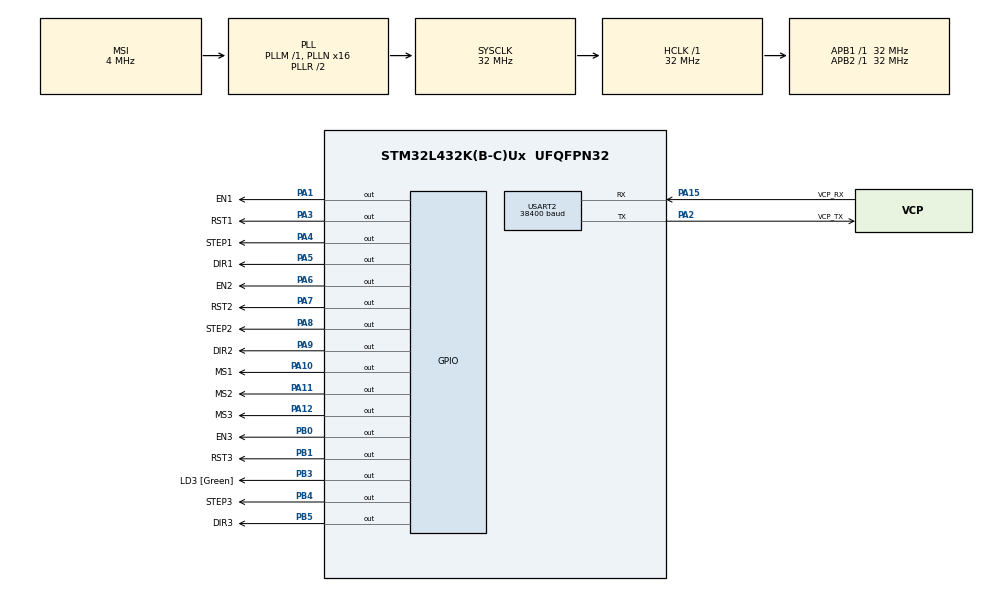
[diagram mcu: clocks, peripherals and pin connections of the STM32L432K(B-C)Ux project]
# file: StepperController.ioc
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FREERTOS.Tasks01=defaultTask,24,128,StartDefaultTask,Default,NULL,Dynamic,NULL,NULL
FREERTOS.configUSE_NEWLIB_REENTRANT=1
Mcu.Family=STM32L4
Mcu.Name=STM32L432K(B-C)Ux
Mcu.Package=UFQFPN32
NVIC.PriorityGroup=NVIC_PRIORITYGROUP_4
NVIC.TIM1_CC_IRQn=true\:5\:0\:false\:false\:true\:true\:true\:true\:true
NVIC.TIM1_UP_TIM16_IRQn=true\:5\:0\:false\:false\:true\:true\:false\:true\:true
NVIC.TIM7_IRQn=true\:15\:0\:false\:false\:true\:false\:false\:true\:true
NVIC.TimeBase=TIM7_IRQn
NVIC.TimeBaseIP=TIM7
NVIC.USART2_IRQn=true\:5\:0\:false\:false\:true\:true\:true\:true\:true
PA0.GPIO_Label=MCO [High speed clock in]
PA0.Mode=HSE-External-Clock-Source-for-LittleOrca
PA0.Signal=RCC_CK_IN
PA1.GPIO_Label=EN1
PA1.PinState=GPIO_PIN_SET
PA1.Signal=GPIO_Output
PA10.GPIO_Label=MS1
PA10.Signal=GPIO_Output
PA11.GPIO_Label=MS2
PA11.Signal=GPIO_Output
PA12.GPIO_Label=MS3
PA12.Signal=GPIO_Output
PA13\ (JTMS-SWDIO).GPIO_Label=SWDIO
PA13\ (JTMS-SWDIO).Mode=Serial_Wire
PA13\ (JTMS-SWDIO).Signal=SYS_JTMS-SWDIO
PA14\ (JTCK-SWCLK).GPIO_Label=SWCLK
PA14\ (JTCK-SWCLK).Mode=Serial_Wire
PA14\ (JTCK-SWCLK).Signal=SYS_JTCK-SWCLK
PA15\ (JTDI).GPIO_Label=VCP_RX
PA15\ (JTDI).Mode=Asynchronous
PA15\ (JTDI).Signal=USART2_RX
PA2.GPIO_Label=VCP_TX
PA2.Mode=Asynchronous
PA2.Signal=USART2_TX
PA3.GPIO_Label=RST1
PA3.PinState=GPIO_PIN_SET
PA3.Signal=GPIO_Output
PA4.GPIO_Label=STEP1
PA4.Signal=GPIO_Output
PA5.GPIO_Label=DIR1
PA5.Signal=GPIO_Output
PA6.GPIO_Label=EN2
PA6.PinState=GPIO_PIN_SET
PA6.Signal=GPIO_Output
PA7.GPIO_Label=RST2
PA7.PinState=GPIO_PIN_SET
PA7.Signal=GPIO_Output
PA8.GPIO_Label=STEP2
PA8.Signal=GPIO_Output
PA9.GPIO_Label=DIR2
PA9.Signal=GPIO_Output
PB0.GPIO_Label=EN3
PB0.PinState=GPIO_PIN_SET
PB0.Signal=GPIO_Output
PB1.GPIO_Label=RST3
PB1.PinState=GPIO_PIN_SET
PB1.Signal=GPIO_Output
PB3\ (JTDO-TRACESWO).GPIO_Label=LD3 [Green]
PB3\ (JTDO-TRACESWO).Signal=GPIO_Output
PB4\ (NJTRST).GPIO_Label=STEP3
PB4\ (NJTRST).Signal=GPIO_Output
PB5.GPIO_Label=DIR3
PB5.Signal=GPIO_Output
PC14-OSC32_IN\ (PC14).Mode=LSE-External-Oscillator
PC14-OSC32_IN\ (PC14).Signal=RCC_OSC32_IN
PC15-OSC32_OUT\ (PC15).Mode=LSE-External-Oscillator
PC15-OSC32_OUT\ (PC15).Signal=RCC_OSC32_OUT
ProjectManager.HeapSize=0x200
ProjectManager.StackSize=0x400
ProjectManager.TargetToolchain=STM32CubeIDE
RCC.AHBFreq_Value=32000000
RCC.APB1Freq_Value=32000000
RCC.APB1TimFreq_Value=32000000
RCC.APB2Freq_Value=32000000
RCC.APB2TimFreq_Value=32000000
RCC.CortexFreq_Value=32000000
RCC.HCLKFreq_Value=32000000
RCC.HSE_VALUE=8000000
RCC.HSI16_VALUE=16000000
RCC.HSI48_VALUE=48000000
RCC.HSI_VALUE=16000000
RCC.MSI_VALUE=4000000
RCC.PLLMUL=RCC_PLLMUL_4
RCC.PLLN=16
RCC.SYSCLKFreq_VALUE=32000000
RCC.SYSCLKSource=RCC_SYSCLKSOURCE_PLLCLK
RCC.VCOOutputFreq_Value=64000000
TIM1.Channel-Output\ Compare1\ No\ Output=TIM_CHANNEL_1
TIM1.OCMode_1=TIM_OCMODE_TOGGLE
TIM1.Prescaler=32000 - 1
USART2.BaudRate=38400
USART2.VirtualMode-Asynchronous=VM_ASYNC
VP_FREERTOS_VS_CMSIS_V2.Mode=CMSIS_V2
VP_SYS_VS_tim7.Mode=TIM7
VP_TIM1_VS_ClockSourceINT.Mode=Internal
VP_TIM1_VS_no_output1.Mode=Output Compare1 No Output
board=NUCLEO-L432KC

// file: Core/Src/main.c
/* USER CODE BEGIN Header */
/**
  ******************************************************************************
  * @file           : main.c
  * @brief          : Main program body
  ******************************************************************************
  * @attention
  *
  * Copyright (c) 2026 STMicroelectronics.
  * All rights reserved.
  *
  * This software is licensed under terms that can be found in the LICENSE file
  * in the root directory of this software component.
  * If no LICENSE file comes with this software, it is provided AS-IS.
  *
  ******************************************************************************
  */
/* USER CODE END Header */
#include "main.h"
#include "cmsis_os.h"

/* USER CODE BEGIN Includes */
#include "modbus.h"
#include "globals.h"
#include <stdlib.h>
/* USER CODE END Includes */

TIM_HandleTypeDef htim1;

UART_HandleTypeDef huart2;

/* Definitions for defaultTask */
osThreadId_t defaultTaskHandle;
const osThreadAttr_t defaultTask_attributes = {
  .name = "defaultTask",
  .stack_size = 128 * 4,
  .priority = (osPriority_t) osPriorityNormal,
};
/* USER CODE BEGIN PV */
modbusHandler_t ModbusH;
uint16_t HoldingRegs[HR_SIZE] = { APP_FC_NOP, 0x0000, 0x0000, SPEED_1, 0x0000, STEP_1 };
uint16_t InputRegs[IR_SIZE] = { 100, 200, 300, 400 };
uint16_t pulses_remaining;
uint16_t pulse_width;
int32_t dir_pulses;

osThreadId_t pulseTaskHandle;
const osThreadAttr_t pulseTask_attributes = {
  .name = "pulseTask",
  .stack_size = 128 * 4,
  .priority = (osPriority_t) osPriorityNormal,
};

bool busy = false;
/* USER CODE END PV */

void SystemClock_Config(void);
static void MX_GPIO_Init(void);
static void MX_USART2_UART_Init(void);
static void MX_TIM1_Init(void);
void StartDefaultTask(void *argument);

/* USER CODE BEGIN PFP */
void StartPulseTask(void *argument);
/* USER CODE END PFP */

int main(void)
{

  /* MCU Configuration--------------------------------------------------------*/

  /* Reset of all peripherals, Initializes the Flash interface and the Systick. */
  HAL_Init();

  /* Configure the system clock */
  SystemClock_Config();

  /* Initialize all configured peripherals */
  MX_GPIO_Init();
  MX_USART2_UART_Init();
  MX_TIM1_Init();
  /* USER CODE BEGIN 2 */
  /* Slave initialization */
  ModbusH.uModbusType = MB_SLAVE;
  ModbusH.port =  &huart2;
  ModbusH.u8id = 1;
  ModbusH.u16timeOut = 1000;
  ModbusH.EN_Port = NULL;
  ModbusH.u16HoldingRegs = HoldingRegs;
  ModbusH.u16HoldingRegSize= sizeof(HoldingRegs)/sizeof(HoldingRegs[0]);
  ModbusH.u16InputRegs = InputRegs;
  ModbusH.u16InputRegSize= sizeof(InputRegs)/sizeof(InputRegs[0]);
  ModbusH.xTypeHW = USART_HW;
  //Initialize Modbus library
  ModbusInit(&ModbusH);
  //Start capturing traffic on serial Port
  ModbusStart(&ModbusH);
  /* USER CODE END 2 */

  /* Init scheduler */
  osKernelInitialize();

  /* Create the thread(s) */
  /* creation of defaultTask */
  defaultTaskHandle = osThreadNew(StartDefaultTask, NULL, &defaultTask_attributes);

  /* Start scheduler */
  osKernelStart();

  /* We should never get here as control is now taken by the scheduler */

  /* Infinite loop */
  while (1)
  {

  }
}

void SystemClock_Config(void)
{
  RCC_OscInitTypeDef RCC_OscInitStruct = {0};
  RCC_ClkInitTypeDef RCC_ClkInitStruct = {0};

  /** Configure the main internal regulator output voltage
  */
  if (HAL_PWREx_ControlVoltageScaling(PWR_REGULATOR_VOLTAGE_SCALE1) != HAL_OK)
  {
    Error_Handler();
  }

  /** Configure LSE Drive Capability
  */
  HAL_PWR_EnableBkUpAccess();
  __HAL_RCC_LSEDRIVE_CONFIG(RCC_LSEDRIVE_LOW);

  /** Initializes the RCC Oscillators according to the specified parameters
  * in the RCC_OscInitTypeDef structure.
  */
  RCC_OscInitStruct.OscillatorType = RCC_OSCILLATORTYPE_LSE|RCC_OSCILLATORTYPE_MSI;
  RCC_OscInitStruct.LSEState = RCC_LSE_ON;
  RCC_OscInitStruct.MSIState = RCC_MSI_ON;
  RCC_OscInitStruct.MSICalibrationValue = 0;
  RCC_OscInitStruct.MSIClockRange = RCC_MSIRANGE_6;
  RCC_OscInitStruct.PLL.PLLState = RCC_PLL_ON;
  RCC_OscInitStruct.PLL.PLLSource = RCC_PLLSOURCE_MSI;
  RCC_OscInitStruct.PLL.PLLM = 1;
  RCC_OscInitStruct.PLL.PLLN = 16;
  RCC_OscInitStruct.PLL.PLLP = RCC_PLLP_DIV7;
  RCC_OscInitStruct.PLL.PLLQ = RCC_PLLQ_DIV2;
  RCC_OscInitStruct.PLL.PLLR = RCC_PLLR_DIV2;
  if (HAL_RCC_OscConfig(&RCC_OscInitStruct) != HAL_OK)
  {
    Error_Handler();
  }

  /** Initializes the CPU, AHB and APB buses clocks
  */
  RCC_ClkInitStruct.ClockType = RCC_CLOCKTYPE_HCLK|RCC_CLOCKTYPE_SYSCLK
                              |RCC_CLOCKTYPE_PCLK1|RCC_CLOCKTYPE_PCLK2;
  RCC_ClkInitStruct.SYSCLKSource = RCC_SYSCLKSOURCE_PLLCLK;
  RCC_ClkInitStruct.AHBCLKDivider = RCC_SYSCLK_DIV1;
  RCC_ClkInitStruct.APB1CLKDivider = RCC_HCLK_DIV1;
  RCC_ClkInitStruct.APB2CLKDivider = RCC_HCLK_DIV1;

  if (HAL_RCC_ClockConfig(&RCC_ClkInitStruct, FLASH_LATENCY_1) != HAL_OK)
  {
    Error_Handler();
  }

  /** Enable MSI Auto calibration
  */
  HAL_RCCEx_EnableMSIPLLMode();
}

static void MX_TIM1_Init(void)
{

  TIM_ClockConfigTypeDef sClockSourceConfig = {0};
  TIM_MasterConfigTypeDef sMasterConfig = {0};
  TIM_OC_InitTypeDef sConfigOC = {0};
  TIM_BreakDeadTimeConfigTypeDef sBreakDeadTimeConfig = {0};

  htim1.Instance = TIM1;
  htim1.Init.Prescaler = 32000 - 1;
  htim1.Init.CounterMode = TIM_COUNTERMODE_UP;
  htim1.Init.Period = 65535;
  htim1.Init.ClockDivision = TIM_CLOCKDIVISION_DIV1;
  htim1.Init.RepetitionCounter = 0;
  htim1.Init.AutoReloadPreload = TIM_AUTORELOAD_PRELOAD_DISABLE;
  if (HAL_TIM_Base_Init(&htim1) != HAL_OK)
  {
    Error_Handler();
  }
  sClockSourceConfig.ClockSource = TIM_CLOCKSOURCE_INTERNAL;
  if (HAL_TIM_ConfigClockSource(&htim1, &sClockSourceConfig) != HAL_OK)
  {
    Error_Handler();
  }
  if (HAL_TIM_OC_Init(&htim1) != HAL_OK)
  {
    Error_Handler();
  }
  sMasterConfig.MasterOutputTrigger = TIM_TRGO_RESET;
  sMasterConfig.MasterOutputTrigger2 = TIM_TRGO2_RESET;
  sMasterConfig.MasterSlaveMode = TIM_MASTERSLAVEMODE_DISABLE;
  if (HAL_TIMEx_MasterConfigSynchronization(&htim1, &sMasterConfig) != HAL_OK)
  {
    Error_Handler();
  }
  sConfigOC.OCMode = TIM_OCMODE_TOGGLE;
  sConfigOC.Pulse = 0;
  sConfigOC.OCPolarity = TIM_OCPOLARITY_HIGH;
  sConfigOC.OCNPolarity = TIM_OCNPOLARITY_HIGH;
  sConfigOC.OCFastMode = TIM_OCFAST_DISABLE;
  sConfigOC.OCIdleState = TIM_OCIDLESTATE_RESET;
  sConfigOC.OCNIdleState = TIM_OCNIDLESTATE_RESET;
  if (HAL_TIM_OC_ConfigChannel(&htim1, &sConfigOC, TIM_CHANNEL_1) != HAL_OK)
  {
    Error_Handler();
  }
  sBreakDeadTimeConfig.OffStateRunMode = TIM_OSSR_DISABLE;
  sBreakDeadTimeConfig.OffStateIDLEMode = TIM_OSSI_DISABLE;
  sBreakDeadTimeConfig.LockLevel = TIM_LOCKLEVEL_OFF;
  sBreakDeadTimeConfig.DeadTime = 0;
  sBreakDeadTimeConfig.BreakState = TIM_BREAK_DISABLE;
  sBreakDeadTimeConfig.BreakPolarity = TIM_BREAKPOLARITY_HIGH;
  sBreakDeadTimeConfig.BreakFilter = 0;
  sBreakDeadTimeConfig.Break2State = TIM_BREAK2_DISABLE;
  sBreakDeadTimeConfig.Break2Polarity = TIM_BREAK2POLARITY_HIGH;
  sBreakDeadTimeConfig.Break2Filter = 0;
  sBreakDeadTimeConfig.AutomaticOutput = TIM_AUTOMATICOUTPUT_DISABLE;
  if (HAL_TIMEx_ConfigBreakDeadTime(&htim1, &sBreakDeadTimeConfig) != HAL_OK)
  {
    Error_Handler();
  }

}

static void MX_USART2_UART_Init(void)
{

  huart2.Instance = USART2;
  huart2.Init.BaudRate = 38400;
  huart2.Init.WordLength = UART_WORDLENGTH_8B;
  huart2.Init.StopBits = UART_STOPBITS_1;
  huart2.Init.Parity = UART_PARITY_NONE;
  huart2.Init.Mode = UART_MODE_TX_RX;
  huart2.Init.HwFlowCtl = UART_HWCONTROL_NONE;
  huart2.Init.OverSampling = UART_OVERSAMPLING_16;
  huart2.Init.OneBitSampling = UART_ONE_BIT_SAMPLE_DISABLE;
  huart2.AdvancedInit.AdvFeatureInit = UART_ADVFEATURE_NO_INIT;
  if (HAL_UART_Init(&huart2) != HAL_OK)
  {
    Error_Handler();
  }

}

static void MX_GPIO_Init(void)
{
  GPIO_InitTypeDef GPIO_InitStruct = {0};

  /* GPIO Ports Clock Enable */
  __HAL_RCC_GPIOC_CLK_ENABLE();
  __HAL_RCC_GPIOA_CLK_ENABLE();
  __HAL_RCC_GPIOB_CLK_ENABLE();

  /*Configure GPIO pin Output Level */
  HAL_GPIO_WritePin(GPIOA, EN1_Pin|RST1_Pin|EN2_Pin|RST2_Pin, GPIO_PIN_SET);

  /*Configure GPIO pin Output Level */
  HAL_GPIO_WritePin(GPIOA, STEP1_Pin|DIR1_Pin|STEP2_Pin|DIR2_Pin
                          |MS1_Pin|MS2_Pin|MS3_Pin, GPIO_PIN_RESET);

  /*Configure GPIO pin Output Level */
  HAL_GPIO_WritePin(GPIOB, EN3_Pin|RST3_Pin, GPIO_PIN_SET);

  /*Configure GPIO pin Output Level */
  HAL_GPIO_WritePin(GPIOB, LD3_Pin|STEP3_Pin|DIR3_Pin, GPIO_PIN_RESET);

  /*Configure GPIO pins : EN1_Pin RST1_Pin STEP1_Pin DIR1_Pin
                           EN2_Pin RST2_Pin STEP2_Pin DIR2_Pin
                           MS1_Pin MS2_Pin MS3_Pin */
  GPIO_InitStruct.Pin = EN1_Pin|RST1_Pin|STEP1_Pin|DIR1_Pin
                          |EN2_Pin|RST2_Pin|STEP2_Pin|DIR2_Pin
                          |MS1_Pin|MS2_Pin|MS3_Pin;
  GPIO_InitStruct.Mode = GPIO_MODE_OUTPUT_PP;
  GPIO_InitStruct.Pull = GPIO_NOPULL;
  GPIO_InitStruct.Speed = GPIO_SPEED_FREQ_LOW;
  HAL_GPIO_Init(GPIOA, &GPIO_InitStruct);

  /*Configure GPIO pins : EN3_Pin RST3_Pin LD3_Pin STEP3_Pin
                           DIR3_Pin */
  GPIO_InitStruct.Pin = EN3_Pin|RST3_Pin|LD3_Pin|STEP3_Pin
                          |DIR3_Pin;
  GPIO_InitStruct.Mode = GPIO_MODE_OUTPUT_PP;
  GPIO_InitStruct.Pull = GPIO_NOPULL;
  GPIO_InitStruct.Speed = GPIO_SPEED_FREQ_LOW;
  HAL_GPIO_Init(GPIOB, &GPIO_InitStruct);

}

/* USER CODE BEGIN 4 */
void setStepSize()
{
	switch(HoldingRegs[HR_STEP_SIZE])
	{
		case STEP_1:
			HAL_GPIO_WritePin(GPIOA, MS1_Pin, GPIO_PIN_RESET);
			HAL_GPIO_WritePin(GPIOA, MS2_Pin, GPIO_PIN_RESET);
			HAL_GPIO_WritePin(GPIOA, MS3_Pin, GPIO_PIN_RESET);
			break;
		case STEP_1_2:
			HAL_GPIO_WritePin(GPIOA, MS1_Pin, GPIO_PIN_SET);
			HAL_GPIO_WritePin(GPIOA, MS2_Pin, GPIO_PIN_RESET);
			HAL_GPIO_WritePin(GPIOA, MS3_Pin, GPIO_PIN_RESET);
			break;
		case STEP_1_4:
			HAL_GPIO_WritePin(GPIOA, MS1_Pin, GPIO_PIN_RESET);
			HAL_GPIO_WritePin(GPIOA, MS2_Pin, GPIO_PIN_SET);
			HAL_GPIO_WritePin(GPIOA, MS3_Pin, GPIO_PIN_RESET);
			break;
		case STEP_1_8:
			HAL_GPIO_WritePin(GPIOA, MS1_Pin, GPIO_PIN_SET);
			HAL_GPIO_WritePin(GPIOA, MS2_Pin, GPIO_PIN_SET);
			HAL_GPIO_WritePin(GPIOA, MS3_Pin, GPIO_PIN_RESET);
			break;
		case STEP_1_16:
			HAL_GPIO_WritePin(GPIOA, MS1_Pin, GPIO_PIN_SET);
			HAL_GPIO_WritePin(GPIOA, MS2_Pin, GPIO_PIN_SET);
			HAL_GPIO_WritePin(GPIOA, MS3_Pin, GPIO_PIN_SET);
			break;
	}

}

// calculate the number of pulses required to rotate through the requested angle
// positive value is CW, negative CCW
void calculatePulses()
{
	float angle, pulses;
	uint8_t factor;
	uint16_t pulses_per_rev;

	switch(HoldingRegs[HR_STEP_SIZE])
	{
		case STEP_1:
			factor = 1;
			break;
		case STEP_1_2:
			factor = 2;
			break;
		case STEP_1_4:
			factor = 4;
			break;
		case STEP_1_8:
			factor = 8;
			break;
		case STEP_1_16:
			factor = 16;
			break;
	}

	pulses_per_rev = STEPS_PER_REV * factor;

	angle = *((float*)&HoldingRegs[HR_ANGLE_LO]);

	pulses =  (angle / 360.0F) * pulses_per_rev;

	dir_pulses = (int32_t)round(pulses);
}

void startTimer(uint16_t numpulses)
{
	// set number of pulses
	pulses_remaining = 2 * numpulses;

	// set starting CCR value
	__HAL_TIM_SET_COMPARE(&htim1, TIM_CHANNEL_1, pulse_width - 1);

	// reset counter
	__HAL_TIM_SET_COUNTER(&htim1, 0);

	// start interrupt
	HAL_TIM_OC_Start_IT(&htim1, TIM_CHANNEL_1);
}

void startPulseTask(uint16_t numpulses)
{
	// set number of pulses
	pulses_remaining = 2 * numpulses;

	// create and start task
	pulseTaskHandle = osThreadNew(StartPulseTask, NULL, &pulseTask_attributes);
}

void enableDriver(bool enable)
{

	GPIO_PinState PinState;

	PinState = enable ? GPIO_PIN_RESET : GPIO_PIN_SET;

	switch(HoldingRegs[HR_CHANNEL])
	{
		case 0: HAL_GPIO_WritePin(GPIOA, EN1_Pin, PinState);
		break;

		case 1: HAL_GPIO_WritePin(GPIOA, EN2_Pin, PinState);
		break;

		case 2: HAL_GPIO_WritePin(GPIOB, EN3_Pin, PinState);
		break;
	}
}

void setDirection(bool clockwise)
{

	GPIO_PinState PinState;

	PinState = clockwise ? GPIO_PIN_RESET : GPIO_PIN_SET;

	switch(HoldingRegs[HR_CHANNEL])
	{
		case 0: HAL_GPIO_WritePin(GPIOA, DIR1_Pin, PinState);
		break;

		case 1: HAL_GPIO_WritePin(GPIOA, DIR2_Pin, PinState);
		break;

		case 2: HAL_GPIO_WritePin(GPIOB, DIR3_Pin, PinState);
		break;
	}
}

void rotate()
{
	// set busy flag
	busy = true;

	// calculate pulses required
	calculatePulses();

	if (dir_pulses == 0) return;

	// set direction pin (+ve = CW)
	setDirection(dir_pulses > 0);

	// set step size
	setStepSize();

	// enable driver output
	enableDriver(true);

	// calculate required pulse width based on speed and angle
	// minimum width of pulse is 1ms (mark/space equal, therefore 2 ms per cycle)
	pulse_width = 1;

	// start timer
	// startTimer(abs(dir_pulses));

	// start pulse task
	 startPulseTask(abs(dir_pulses));

}

void HAL_TIM_OC_DelayElapsedCallback (TIM_HandleTypeDef * htim)
{
	if (htim == &htim1)
	{
		switch(HoldingRegs[HR_CHANNEL])
		{
			case 0: HAL_GPIO_TogglePin(GPIOA, STEP1_Pin);
			break;

			case 1: HAL_GPIO_TogglePin(GPIOA, STEP2_Pin);
			break;

			case 2: HAL_GPIO_TogglePin(GPIOB, STEP3_Pin);
			break;
		}

		// decrement pulse count
		pulses_remaining--;

		if (pulses_remaining == 0)
		{
			// stop timer, disable interrupt
			HAL_TIM_OC_Stop_IT(&htim1, TIM_CHANNEL_1);
			// disable driver output
			enableDriver(false);
			return;
		}

		__HAL_TIM_SET_COMPARE(&htim1, TIM_CHANNEL_1,
			__HAL_TIM_GET_COMPARE(&htim1, TIM_CHANNEL_1) + pulse_width);

	}
}

void StartPulseTask(void *argument)
{
	while (pulses_remaining > 0)
	{
		switch(HoldingRegs[HR_CHANNEL])
		{
			case 0: HAL_GPIO_TogglePin(GPIOA, STEP1_Pin);
			break;

			case 1: HAL_GPIO_TogglePin(GPIOA, STEP2_Pin);
			break;

			case 2: HAL_GPIO_TogglePin(GPIOB, STEP3_Pin);
			break;
		}

		pulses_remaining--;

		osDelay(1);
	}

	// disabling the driver after rotation seems like the right thing to do
	// however, these seems to lead to slight overshoot at faster speeds
	// enableDriver(false);

	// reset busy flag
	busy = false;

	osThreadExit();
}

/* USER CODE END 4 */

void StartDefaultTask(void *argument)
{
  /* USER CODE BEGIN 5 */
  /* Infinite loop */
  for(;;)
  {
	  HAL_GPIO_TogglePin(GPIOB, LD3_Pin);
	  osDelay(500);
  }
  /* USER CODE END 5 */
}

void HAL_TIM_PeriodElapsedCallback(TIM_HandleTypeDef *htim)
{
  if (htim->Instance == TIM7)
  {
    HAL_IncTick();
  }
}

void Error_Handler(void)
{
  __disable_irq();
  while (1)
  {
  }
}
